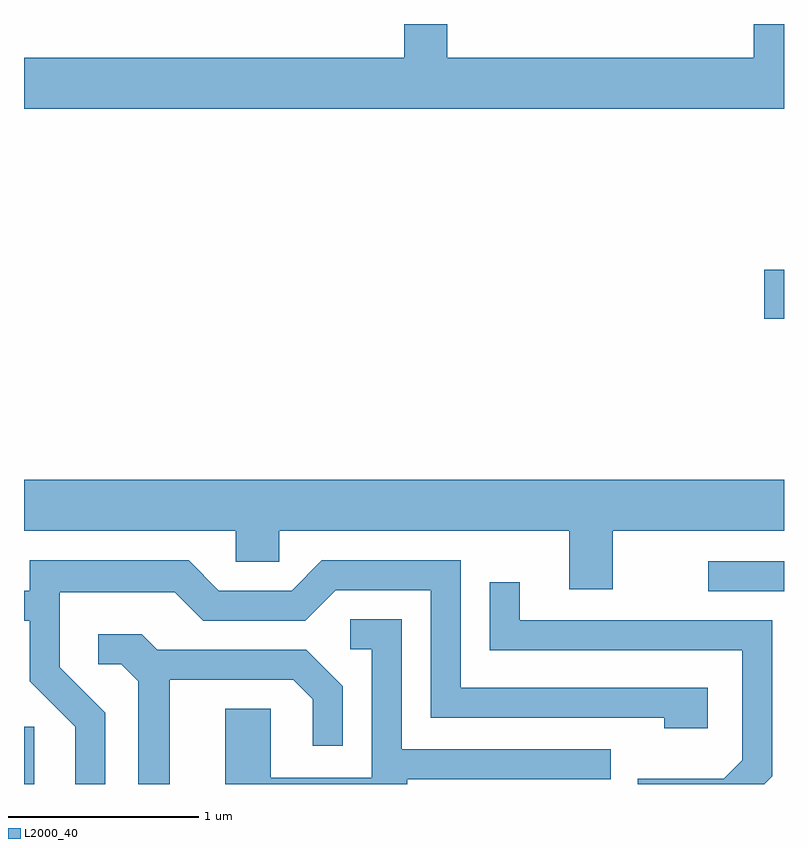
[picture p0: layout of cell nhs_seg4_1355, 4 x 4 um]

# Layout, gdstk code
import gdstk
lib = gdstk.Library(unit=1e-6, precision=1e-09)
def R(c, l, rs):  # rectangles x0, y0, x1, y1
    for r in rs: c.add(gdstk.rectangle(r[:2], r[2:], *l))
def P(c, l, *ps):  # polygons
    for p in ps: c.add(gdstk.Polygon(p, *l))
L2000_40 = (2000, 40)

nhs_seg4_1355 = lib.new_cell('nhs_seg4_1355')
R(nhs_seg4_1355, L2000_40, [(223.611,1379.982,223.664,1380.284), (227.213,1380.996,227.611,1381.154), (227.506,1382.431,227.611,1382.689)])
P(nhs_seg4_1355, L2000_40, [(227.611,1383.982),(227.451,1383.982),(227.451,1383.804),(225.839,1383.804),(225.839,1383.982),(225.611,1383.982),(225.611,1383.804),(223.611,1383.804),(223.611,1383.536),(227.611,1383.536)],
  [(226.709,1381.316),(227.611,1381.316),(227.611,1381.584),(223.611,1381.584),(223.611,1381.316),(224.726,1381.316),(224.726,1381.151),(224.954,1381.151),(224.954,1381.316),(226.481,1381.316),(226.481,1381.006),(226.709,1381.006)],
  [(224.039,1380.357),(223.799,1380.597),(223.799,1380.991),(224.404,1380.991),(224.554,1380.841),(225.092,1380.841),(225.252,1381.001),(225.751,1381.001),(225.751,1380.331),(226.981,1380.331),(226.981,1380.276),(227.209,1380.276),(227.209,1380.489),(225.909,1380.489),(225.909,1381.159),(225.179,1381.159),(225.019,1380.999),(224.637,1380.999),(224.477,1381.159),(223.641,1381.159),(223.641,1380.999),(223.611,1380.999),(223.611,1380.841),(223.641,1380.841),(223.641,1380.524),(223.881,1380.284),(223.881,1379.982),(224.039,1379.982)],
  [(227.549,1380.024),(227.549,1380.844),(226.219,1380.844),(226.219,1381.043),(226.061,1381.043),(226.061,1380.686),(227.391,1380.686),(227.391,1380.107),(227.294,1380.009),(226.841,1380.009),(226.841,1379.982),(227.507,1379.982)],
  [(225.629,1380.006),(226.698,1380.006),(226.698,1380.164),(225.599,1380.164),(225.599,1380.849),(225.328,1380.849),(225.328,1380.691),(225.441,1380.691),(225.441,1380.014),(224.909,1380.014),(224.909,1380.379),(224.671,1380.379),(224.671,1379.982),(225.629,1379.982)],
  [(224.379,1380.531),(225.029,1380.531),(225.131,1380.429),(225.131,1380.183),(225.289,1380.183),(225.289,1380.497),(225.097,1380.689),(224.312,1380.689),(224.232,1380.769),(224.003,1380.769),(224.003,1380.611),(224.124,1380.611),(224.211,1380.524),(224.211,1379.982),(224.379,1379.982)])

lib.write_gds('nhs_seg4_1355.gds')
